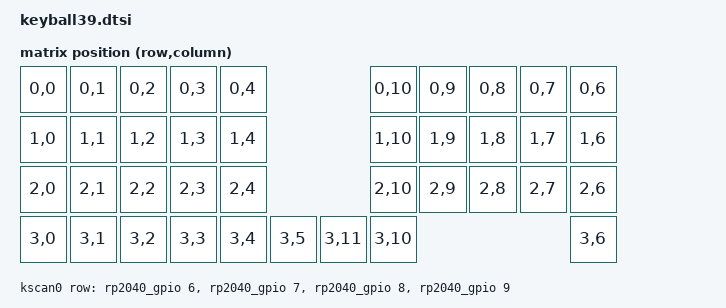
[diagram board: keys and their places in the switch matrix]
#include <dt-bindings/zmk/matrix_transform.h>

 / {
    chosen {
        zephyr,display = &oled;
        zmk,kscan = &kscan0;
        zmk,matrix_transform = &default_transform;
    };

    default_transform: keymap_transform_0 {
        compatible = "zmk,matrix-transform";
        columns = <12>;
        rows = <4>;

        map = <
            RC(0,0) RC(0,1) RC(0,2) RC(0,3) RC(0,4)                  RC(0,10) RC(0,9) RC(0,8) RC(0,7) RC(0,6)
            RC(1,0) RC(1,1) RC(1,2) RC(1,3) RC(1,4)                  RC(1,10) RC(1,9) RC(1,8) RC(1,7) RC(1,6)
            RC(2,0) RC(2,1) RC(2,2) RC(2,3) RC(2,4)                  RC(2,10) RC(2,9) RC(2,8) RC(2,7) RC(2,6)
            RC(3,0) RC(3,1) RC(3,2) RC(3,3) RC(3,4) RC(3,5) RC(3,11) RC(3,10)                         RC(3,6)
        >;
    };
    
    kscan0: kscan {
        compatible = "zmk,kscan-gpio-matrix";
        label = "KSCAN";

        diode-direction = "col2row";
        row-gpios
            = <&rp2040_gpio 6 (GPIO_ACTIVE_HIGH | GPIO_PULL_DOWN)>
            , <&rp2040_gpio 7 (GPIO_ACTIVE_HIGH | GPIO_PULL_DOWN)>
            , <&rp2040_gpio 8 (GPIO_ACTIVE_HIGH | GPIO_PULL_DOWN)>
            , <&rp2040_gpio 9 (GPIO_ACTIVE_HIGH | GPIO_PULL_DOWN)>;
    };
};

&i2c0 {
    status = "okay";
    compatible = "raspberrypi,rp2040-i2c";
    sda-pin = <4>;  // Update with actual SDA pin from your PCB
    scl-pin = <5>;  // Update with actual SCL pin from your PCB
    clock-frequency = <I2C_BITRATE_STANDARD>;

    oled: ssd1306@3c {
        compatible = "solomon,ssd1306fb";
        reg = <0x3c>;
        width = <128>;
        height = <32>;
        segment-offset = <0>;
        page-offset = <0>;
        display-offset = <0>;
        multiplex-ratio = <31>;
        segment-remap;
        com-invdir;
        com-sequential;
        inversion-on;
        prechargep = <0x22>;
    };
};
